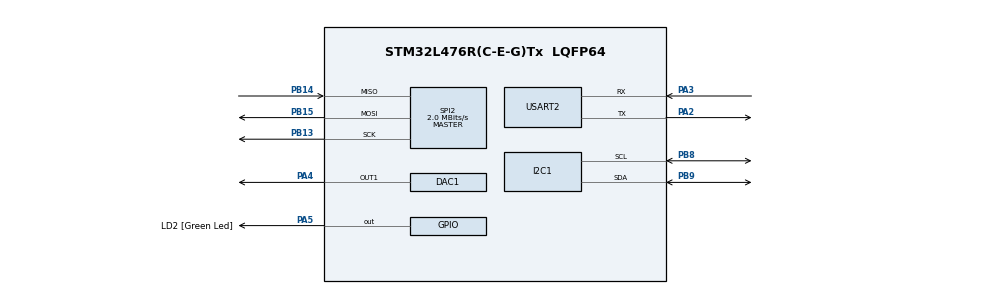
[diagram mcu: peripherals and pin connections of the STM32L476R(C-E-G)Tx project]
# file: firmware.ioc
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ADC1.Channel-0\#ChannelRegularConversion=ADC_CHANNEL_VREFINT
ADC1.ClockPrescaler=ADC_CLOCK_ASYNC_DIV1
ADC1.ContinuousConvMode=DISABLE
ADC1.DMAContinuousRequests=DISABLE
ADC1.DataAlign=ADC_DATAALIGN_RIGHT
ADC1.DiscontinuousConvMode=DISABLE
ADC1.EOCSelection=ADC_EOC_SINGLE_CONV
ADC1.EnableAnalogWatchDog1=false
ADC1.EnableAnalogWatchDog2=false
ADC1.EnableAnalogWatchDog3=false
ADC1.EnableInjectedConversion=DISABLE
ADC1.EnableRegularConversion=ENABLE
ADC1.ExternalTrigConv=ADC_SOFTWARE_START
ADC1.ExternalTrigConvEdge=ADC_EXTERNALTRIGCONVEDGE_NONE
ADC1.LowPowerAutoWait=DISABLE
ADC1.NbrOfConversion=1
ADC1.NbrOfConversionFlag=1
ADC1.OffsetNumber-0\#ChannelRegularConversion=ADC_OFFSET_NONE
ADC1.Overrun=ADC_OVR_DATA_PRESERVED
ADC1.OversamplingMode=DISABLE
ADC1.Rank-0\#ChannelRegularConversion=1
ADC1.Resolution=ADC_RESOLUTION_12B
ADC1.SamplingTime-0\#ChannelRegularConversion=ADC_SAMPLETIME_640CYCLES_5
ADC1.ScanConvMode=ADC_SCAN_DISABLE
ADC1.master=1
Dma.Request0=USART2_TX
Dma.USART2_TX.0.Direction=DMA_MEMORY_TO_PERIPH
Dma.USART2_TX.0.Instance=DMA1_Channel7
Dma.USART2_TX.0.MemDataAlignment=DMA_MDATAALIGN_BYTE
Dma.USART2_TX.0.MemInc=DMA_MINC_ENABLE
Dma.USART2_TX.0.Mode=DMA_NORMAL
Dma.USART2_TX.0.PeriphDataAlignment=DMA_PDATAALIGN_BYTE
Dma.USART2_TX.0.PeriphInc=DMA_PINC_DISABLE
Dma.USART2_TX.0.Priority=DMA_PRIORITY_LOW
I2C1.Timing=0x00303D5B
Mcu.Family=STM32L4
Mcu.Name=STM32L476R(C-E-G)Tx
Mcu.Package=LQFP64
NVIC.DMA1_Channel7_IRQn=true\:0\:0\:false\:false\:true\:true\:false\:false
NVIC.PriorityGroup=NVIC_PRIORITYGROUP_4
NVIC.USART2_IRQn=true\:0\:0\:false\:false\:true\:true\:false\:false
PA2.Mode=Asynchronous
PA2.Signal=USART2_TX
PA3.Mode=Asynchronous
PA3.Signal=USART2_RX
PA4.Signal=COMP_DAC11_group
PA5.GPIO_Label=LD2 [Green Led]
PA5.Signal=GPIO_Output
PB13.Mode=Full_Duplex_Master
PB13.Signal=SPI2_SCK
PB14.Mode=Full_Duplex_Master
PB14.Signal=SPI2_MISO
PB15.Mode=Full_Duplex_Master
PB15.Signal=SPI2_MOSI
PB8.Mode=I2C
PB8.Signal=I2C1_SCL
PB9.Mode=I2C
PB9.Signal=I2C1_SDA
ProjectManager.HeapSize=0x200
ProjectManager.StackSize=0x400
ProjectManager.TargetToolchain=Makefile
RCC.HSE_VALUE=8000000
RCC.HSI_VALUE=16000000
RCC.LSE_VALUE=32768
RCC.MSI_VALUE=4000000
RCC.VCOOutputFreq_Value=32000000
SH.COMP_DAC11_group.0=DAC1_OUT1,DAC_OUT1
SPI2.CalculateBaudRate=2.0 MBits/s
SPI2.DataSize=SPI_DATASIZE_8BIT
SPI2.Direction=SPI_DIRECTION_2LINES
SPI2.Mode=SPI_MODE_MASTER
SPI2.VirtualType=VM_MASTER
USART2.VirtualMode=VM_ASYNC
USART2.VirtualMode-Asynchronous=VM_ASYNC
VP_ADC1_Vref_Input.Mode=IN-Vrefint
board=custom

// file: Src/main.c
/* USER CODE BEGIN Header */
/**
  ******************************************************************************
  * @file           : main.c
  * @brief          : Main program body
  ******************************************************************************
  * @attention
  *
  * Copyright (c) 2026 STMicroelectronics.
  * All rights reserved.
  *
  * This software is licensed under terms that can be found in the LICENSE file
  * in the root directory of this software component.
  * If no LICENSE file comes with this software, it is provided AS-IS.
  *
  ******************************************************************************
  */
/* USER CODE END Header */
#include "main.h"

ADC_HandleTypeDef hadc1;

DAC_HandleTypeDef hdac1;

I2C_HandleTypeDef hi2c1;

SPI_HandleTypeDef hspi2;

UART_HandleTypeDef huart2;
DMA_HandleTypeDef hdma_usart2_tx;

/* USER CODE BEGIN PV */
static const char kMarker[] = "EMULICA_L476_UART_GPIO_DEMO_OK\r\n";
/* Second, distinct marker - only reachable if the FIRST HAL_UART_Transmit_DMA()
 * call's huart2.gState genuinely returns to HAL_UART_STATE_READY, which real
 * hardware (and now this emulator) only does via
 * DMA1_Channel7_IRQHandler() -> HAL_DMA_IRQHandler() -> UART_DMATransmitCplt().
 * Real, concrete proof the DMA one-shot limitation is closed - see
 * renoly_examples/st/stm32l476/README.md. */
static const char kMarker2[] = "EMULICA_L476_DMA_IRQ_OK\r\n";
/* I2C1 bus scan marker - NUCLEO-L476RG has no onboard I2C device (confirmed
 * against its real MB1136 schematic), so every address is expected to NACK.
 * This proves the real HAL_I2C_Init()/HAL_I2C_IsDeviceReady() code path runs
 * to completion against STM32L4_I2C without hanging or faulting - an honest
 * "no device found" result, not a simulated device. */
static const char kI2cScanMarker[] = "EMULICA_L476_I2C_SCAN_OK\r\n";
static const uint16_t kI2cScanAddresses[] = {0x50, 0x68, 0x76};
/* ADC1/DAC1 markers - NUCLEO-L476RG has no onboard analog device wired
 * either (matching the I2C bus-scan's own honesty), so the genuinely-
 * onboard, zero-external-wiring choice is ADC1's internal VREFINT
 * channel (real production-relevant signal every STM32 has) and a
 * DAC1 channel-1 write with no external observation - see
 * renoly_examples/st/stm32l476/README.md for the register-level proof
 * these markers alone can't show (adc_common.CCR's VREFEN bit, dac1's
 * DOR1 code). */
static const char kAdcMarker[] = "EMULICA_L476_ADC_OK\r\n";
static const char kDacMarker[] = "EMULICA_L476_DAC_OK\r\n";
#define DAC1_DEMO_CODE 0xABCU
/* SPI2 marker - NUCLEO-L476RG has no onboard SPI device either (same
 * honest constraint as I2C/ADC/DAC above). SPI2 (not SPI1 - SPI1's
 * default SCK pin is PA5, already LD2 in this firmware) sits on PB13/
 * PB14/PB15, wired to nothing external. The genuinely-onboard,
 * zero-external-wiring proof is a self-loopback: STM32L4_SPI's DR
 * already models a real loopback (every write is readable back via
 * RXNE - see stm32l4_spi.py), so a real HAL_SPI_TransmitReceive() call
 * genuinely gets back what it sent - the marker only fires if the
 * received byte actually matches, not unconditionally. */
static const char kSpiMarker[] = "EMULICA_L476_SPI_OK\r\n";
#define SPI2_DEMO_BYTE 0x5AU
/* USER CODE END PV */

void SystemClock_Config(void);
static void MX_GPIO_Init(void);
static void MX_DMA_Init(void);
static void MX_USART2_UART_Init(void);
static void MX_I2C1_Init(void);
static void MX_ADC1_Init(void);
static void MX_DAC1_Init(void);
static void MX_SPI2_Init(void);

int main(void)
{

  /* MCU Configuration--------------------------------------------------------*/

  /* Reset of all peripherals, Initializes the Flash interface and the Systick. */
  HAL_Init();

  /* Configure the system clock */
  SystemClock_Config();

  /* Initialize all configured peripherals */
  MX_GPIO_Init();
  MX_DMA_Init();
  MX_USART2_UART_Init();
  MX_I2C1_Init();
  MX_ADC1_Init();
  MX_DAC1_Init();
  MX_SPI2_Init();
  /* USER CODE BEGIN 2 */
  for (uint32_t i = 0; i < sizeof(kI2cScanAddresses) / sizeof(kI2cScanAddresses[0]); i++)
  {
    /* 7-bit address, left-shifted per HAL convention; 1 trial, 100 ms
     * timeout (bounded - see stm32l4_i2c.py's docstring for why this can't
     * hang even though nothing ever ACKs). */
    HAL_I2C_IsDeviceReady(&hi2c1, (uint16_t)(kI2cScanAddresses[i] << 1), 1, 100);
  }
  HAL_UART_Transmit(&huart2, (uint8_t *)kI2cScanMarker, sizeof(kI2cScanMarker) - 1, HAL_MAX_DELAY);

  /* One real, polled ADC1 conversion on the internal VREFINT channel. */
  HAL_ADC_Start(&hadc1);
  HAL_ADC_PollForConversion(&hadc1, HAL_MAX_DELAY);
  (void)HAL_ADC_GetValue(&hadc1);
  HAL_UART_Transmit(&huart2, (uint8_t *)kAdcMarker, sizeof(kAdcMarker) - 1, HAL_MAX_DELAY);

  /* One real DAC1 channel-1 write (no trigger - DHR latches straight to
   * DOR1, see stm32l4_dac.py). */
  HAL_DAC_Start(&hdac1, DAC_CHANNEL_1);
  HAL_DAC_SetValue(&hdac1, DAC_CHANNEL_1, DAC_ALIGN_12B_R, DAC1_DEMO_CODE);
  HAL_UART_Transmit(&huart2, (uint8_t *)kDacMarker, sizeof(kDacMarker) - 1, HAL_MAX_DELAY);

  /* One real, polled SPI2 self-loopback transaction - the marker only
   * fires if the real HAL_SPI_TransmitReceive() call genuinely got back
   * the exact byte sent. */
  uint8_t spi_tx = SPI2_DEMO_BYTE;
  uint8_t spi_rx = 0x00;
  HAL_SPI_TransmitReceive(&hspi2, &spi_tx, &spi_rx, 1, HAL_MAX_DELAY);
  if (spi_rx == SPI2_DEMO_BYTE)
  {
    HAL_UART_Transmit(&huart2, (uint8_t *)kSpiMarker, sizeof(kSpiMarker) - 1, HAL_MAX_DELAY);
  }
  /* USER CODE END 2 */

  /* Infinite loop */
  /* USER CODE BEGIN WHILE */
  while (1)
  {
    HAL_GPIO_TogglePin(LD2_GPIO_Port, LD2_Pin);
    HAL_UART_Transmit_DMA(&huart2, (uint8_t *)kMarker, sizeof(kMarker) - 1);

    /* Bounded wait for gState to genuinely return to READY, then a SECOND
     * DMA transmit that only succeeds if it really did - see kMarker2's
     * own comment above for what this proves. */
    uint32_t wait_guard = 100000;
    while (huart2.gState != HAL_UART_STATE_READY && --wait_guard) { }
    if (wait_guard)
    {
      HAL_UART_Transmit_DMA(&huart2, (uint8_t *)kMarker2, sizeof(kMarker2) - 1);
    }

    HAL_Delay(500);
    /* USER CODE END WHILE */

  }
}

void SystemClock_Config(void)
{
  RCC_OscInitTypeDef RCC_OscInitStruct = {0};
  RCC_ClkInitTypeDef RCC_ClkInitStruct = {0};

  /** Configure the main internal regulator output voltage
  */
  if (HAL_PWREx_ControlVoltageScaling(PWR_REGULATOR_VOLTAGE_SCALE1) != HAL_OK)
  {
    Error_Handler();
  }

  /** Initializes the RCC Oscillators according to the specified parameters
  * in the RCC_OscInitTypeDef structure.
  */
  RCC_OscInitStruct.OscillatorType = RCC_OSCILLATORTYPE_MSI;
  RCC_OscInitStruct.MSIState = RCC_MSI_ON;
  RCC_OscInitStruct.MSICalibrationValue = 0;
  RCC_OscInitStruct.MSIClockRange = RCC_MSIRANGE_6;
  RCC_OscInitStruct.PLL.PLLState = RCC_PLL_NONE;
  if (HAL_RCC_OscConfig(&RCC_OscInitStruct) != HAL_OK)
  {
    Error_Handler();
  }

  /** Initializes the CPU, AHB and APB buses clocks
  */
  RCC_ClkInitStruct.ClockType = RCC_CLOCKTYPE_HCLK|RCC_CLOCKTYPE_SYSCLK
                              |RCC_CLOCKTYPE_PCLK1|RCC_CLOCKTYPE_PCLK2;
  RCC_ClkInitStruct.SYSCLKSource = RCC_SYSCLKSOURCE_MSI;
  RCC_ClkInitStruct.AHBCLKDivider = RCC_SYSCLK_DIV1;
  RCC_ClkInitStruct.APB1CLKDivider = RCC_HCLK_DIV1;
  RCC_ClkInitStruct.APB2CLKDivider = RCC_HCLK_DIV1;

  if (HAL_RCC_ClockConfig(&RCC_ClkInitStruct, FLASH_LATENCY_0) != HAL_OK)
  {
    Error_Handler();
  }
}

static void MX_ADC1_Init(void)
{

  ADC_MultiModeTypeDef multimode = {0};
  ADC_ChannelConfTypeDef sConfig = {0};

  /** Common config
  */
  hadc1.Instance = ADC1;
  hadc1.Init.ClockPrescaler = ADC_CLOCK_ASYNC_DIV1;
  hadc1.Init.Resolution = ADC_RESOLUTION_12B;
  hadc1.Init.DataAlign = ADC_DATAALIGN_RIGHT;
  hadc1.Init.ScanConvMode = ADC_SCAN_DISABLE;
  hadc1.Init.EOCSelection = ADC_EOC_SINGLE_CONV;
  hadc1.Init.LowPowerAutoWait = DISABLE;
  hadc1.Init.ContinuousConvMode = DISABLE;
  hadc1.Init.NbrOfConversion = 1;
  hadc1.Init.DiscontinuousConvMode = DISABLE;
  hadc1.Init.ExternalTrigConv = ADC_SOFTWARE_START;
  hadc1.Init.ExternalTrigConvEdge = ADC_EXTERNALTRIGCONVEDGE_NONE;
  hadc1.Init.DMAContinuousRequests = DISABLE;
  hadc1.Init.Overrun = ADC_OVR_DATA_PRESERVED;
  hadc1.Init.OversamplingMode = DISABLE;
  if (HAL_ADC_Init(&hadc1) != HAL_OK)
  {
    Error_Handler();
  }

  /** Configure the ADC multi-mode
  */
  multimode.Mode = ADC_MODE_INDEPENDENT;
  if (HAL_ADCEx_MultiModeConfigChannel(&hadc1, &multimode) != HAL_OK)
  {
    Error_Handler();
  }

  /** Configure Regular Channel
  */
  sConfig.Channel = ADC_CHANNEL_VREFINT;
  sConfig.Rank = ADC_REGULAR_RANK_1;
  sConfig.SamplingTime = ADC_SAMPLETIME_640CYCLES_5;
  sConfig.SingleDiff = ADC_SINGLE_ENDED;
  sConfig.OffsetNumber = ADC_OFFSET_NONE;
  sConfig.Offset = 0;
  if (HAL_ADC_ConfigChannel(&hadc1, &sConfig) != HAL_OK)
  {
    Error_Handler();
  }

}

static void MX_DAC1_Init(void)
{

  DAC_ChannelConfTypeDef sConfig = {0};

  /** DAC Initialization
  */
  hdac1.Instance = DAC1;
  if (HAL_DAC_Init(&hdac1) != HAL_OK)
  {
    Error_Handler();
  }

  /** DAC channel OUT1 config
  */
  sConfig.DAC_SampleAndHold = DAC_SAMPLEANDHOLD_DISABLE;
  sConfig.DAC_Trigger = DAC_TRIGGER_NONE;
  sConfig.DAC_OutputBuffer = DAC_OUTPUTBUFFER_ENABLE;
  sConfig.DAC_ConnectOnChipPeripheral = DAC_CHIPCONNECT_DISABLE;
  sConfig.DAC_UserTrimming = DAC_TRIMMING_FACTORY;
  if (HAL_DAC_ConfigChannel(&hdac1, &sConfig, DAC_CHANNEL_1) != HAL_OK)
  {
    Error_Handler();
  }

}

static void MX_I2C1_Init(void)
{

  hi2c1.Instance = I2C1;
  hi2c1.Init.Timing = 0x00303D5B;
  hi2c1.Init.OwnAddress1 = 0;
  hi2c1.Init.AddressingMode = I2C_ADDRESSINGMODE_7BIT;
  hi2c1.Init.DualAddressMode = I2C_DUALADDRESS_DISABLE;
  hi2c1.Init.OwnAddress2 = 0;
  hi2c1.Init.OwnAddress2Masks = I2C_OA2_NOMASK;
  hi2c1.Init.GeneralCallMode = I2C_GENERALCALL_DISABLE;
  hi2c1.Init.NoStretchMode = I2C_NOSTRETCH_DISABLE;
  if (HAL_I2C_Init(&hi2c1) != HAL_OK)
  {
    Error_Handler();
  }

  /** Configure Analogue filter
  */
  if (HAL_I2CEx_ConfigAnalogFilter(&hi2c1, I2C_ANALOGFILTER_ENABLE) != HAL_OK)
  {
    Error_Handler();
  }

  /** Configure Digital filter
  */
  if (HAL_I2CEx_ConfigDigitalFilter(&hi2c1, 0) != HAL_OK)
  {
    Error_Handler();
  }

}

static void MX_SPI2_Init(void)
{

  /* SPI2 parameter configuration*/
  hspi2.Instance = SPI2;
  hspi2.Init.Mode = SPI_MODE_MASTER;
  hspi2.Init.Direction = SPI_DIRECTION_2LINES;
  hspi2.Init.DataSize = SPI_DATASIZE_8BIT;
  hspi2.Init.CLKPolarity = SPI_POLARITY_LOW;
  hspi2.Init.CLKPhase = SPI_PHASE_1EDGE;
  hspi2.Init.NSS = SPI_NSS_SOFT;
  hspi2.Init.BaudRatePrescaler = SPI_BAUDRATEPRESCALER_2;
  hspi2.Init.FirstBit = SPI_FIRSTBIT_MSB;
  hspi2.Init.TIMode = SPI_TIMODE_DISABLE;
  hspi2.Init.CRCCalculation = SPI_CRCCALCULATION_DISABLE;
  hspi2.Init.CRCPolynomial = 7;
  hspi2.Init.CRCLength = SPI_CRC_LENGTH_DATASIZE;
  hspi2.Init.NSSPMode = SPI_NSS_PULSE_ENABLE;
  if (HAL_SPI_Init(&hspi2) != HAL_OK)
  {
    Error_Handler();
  }

}

static void MX_USART2_UART_Init(void)
{

  huart2.Instance = USART2;
  huart2.Init.BaudRate = 115200;
  huart2.Init.WordLength = UART_WORDLENGTH_8B;
  huart2.Init.StopBits = UART_STOPBITS_1;
  huart2.Init.Parity = UART_PARITY_NONE;
  huart2.Init.Mode = UART_MODE_TX_RX;
  huart2.Init.HwFlowCtl = UART_HWCONTROL_NONE;
  huart2.Init.OverSampling = UART_OVERSAMPLING_16;
  huart2.Init.OneBitSampling = UART_ONE_BIT_SAMPLE_DISABLE;
  huart2.AdvancedInit.AdvFeatureInit = UART_ADVFEATURE_NO_INIT;
  if (HAL_UART_Init(&huart2) != HAL_OK)
  {
    Error_Handler();
  }

}

static void MX_DMA_Init(void)
{

  /* DMA controller clock enable */
  __HAL_RCC_DMA1_CLK_ENABLE();

  /* DMA interrupt init */
  /* DMA1_Channel7_IRQn interrupt configuration */
  HAL_NVIC_SetPriority(DMA1_Channel7_IRQn, 0, 0);
  HAL_NVIC_EnableIRQ(DMA1_Channel7_IRQn);

}

static void MX_GPIO_Init(void)
{
  GPIO_InitTypeDef GPIO_InitStruct = {0};

  /* GPIO Ports Clock Enable */
  __HAL_RCC_GPIOA_CLK_ENABLE();
  __HAL_RCC_GPIOB_CLK_ENABLE();

  /*Configure GPIO pin Output Level */
  HAL_GPIO_WritePin(LD2_GPIO_Port, LD2_Pin, GPIO_PIN_RESET);

  /*Configure GPIO pin : LD2_Pin */
  GPIO_InitStruct.Pin = LD2_Pin;
  GPIO_InitStruct.Mode = GPIO_MODE_OUTPUT_PP;
  GPIO_InitStruct.Pull = GPIO_NOPULL;
  GPIO_InitStruct.Speed = GPIO_SPEED_FREQ_LOW;
  HAL_GPIO_Init(LD2_GPIO_Port, &GPIO_InitStruct);

}

void Error_Handler(void)
{
  __disable_irq();
  while (1)
  {
  }
}
